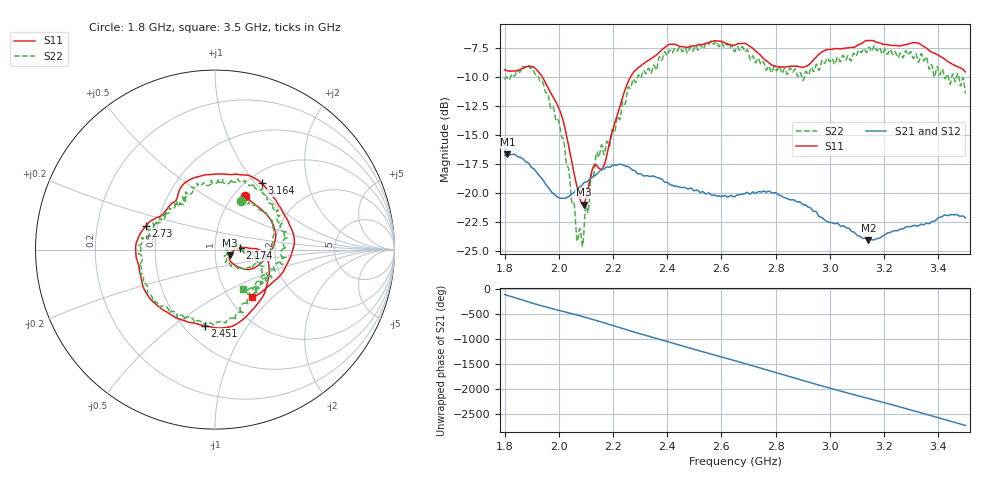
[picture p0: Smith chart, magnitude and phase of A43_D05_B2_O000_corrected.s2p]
! Created with skrf 1.9.0 (http://scikit-rf.org).
# Hz S RI R 50.0
!freq ReS11 ImS11 ReS21 ImS21 ReS12 ImS12 ReS22 ImS22
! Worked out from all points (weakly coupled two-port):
!   1601 points, 1.8 GHz to 3.5 GHz, reference 50 ohm
!   highest |S21| = -16.66 dB at 1.811 GHz (marker M1); lowest = -24.1 dB at 3.142 GHz (marker M2)
!   lowest |S11| = -21.0 dB at 2.091 GHz (marker M3), VSWR 1.19, Z = 59 - j3.65 ohm
!   |S11| at or under -10 dB: 1.94 GHz to 2.264 GHz (324.6 MHz wide, 15.4 % of centre)
!   |S22| runs from -24.6 to -6.9 dB; largest |S21 - S12| = 0.0023
!   S11 on the Smith chart (normalised r, x): 1.8 GHz: 1.13, +0.76; 2.174 GHz: 1.32, +0.03; 2.451 GHz: 0.63, -0.66; 2.73 GHz: 0.43, +0.14; 3.164 GHz: 1.17, +1.08; 3.5 GHz: 1.27, -0.75
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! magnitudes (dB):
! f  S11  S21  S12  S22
! 1.8 GHz  -9.4  -16.8  -16.8  -10.2
! 1.811 GHz  -9.5  -16.7  -16.7  -10.1
! 1.885 GHz  -9.1  -17.4  -17.4  -9.0
! 1.941 GHz  -10.1  -18.9  -18.9  -10.5
! 2.01 GHz  -13.3  -20.5  -20.4  -15.2
! 2.066 GHz  -19.3  -19.7  -19.7  -23.8
! 2.084 GHz  -20.9  -19.4  -19.3  -24.0
! 2.091 GHz  -21.0  -19.2  -19.2  -23.9
! 2.138 GHz  -17.6  -18.4  -18.4  -16.6
! 2.174 GHz  -17.1  -17.8  -17.8  -15.8
! 2.261 GHz  -10.1  -17.8  -17.8  -10.9
! 2.367 GHz  -7.9  -18.7  -18.7  -8.5
! 2.451 GHz  -7.4  -19.5  -19.5  -7.6
! 2.65 GHz  -7.2  -20.3  -20.3  -7.8
! 2.73 GHz  -7.8  -20.0  -20.0  -8.6
! 2.807 GHz  -9.1  -20.1  -20.1  -9.3
! 2.934 GHz  -8.7  -21.4  -21.4  -9.2
! 3.142 GHz  -6.8  -24.1  -23.9  -7.5
! 3.164 GHz  -6.9  -24.1  -24.0  -7.3
! 3.217 GHz  -7.2  -23.4  -23.4  -7.8
! 3.325 GHz  -7.1  -22.9  -22.8  -8.6
! 3.5 GHz  -9.5  -22.2  -22.1  -11.4
